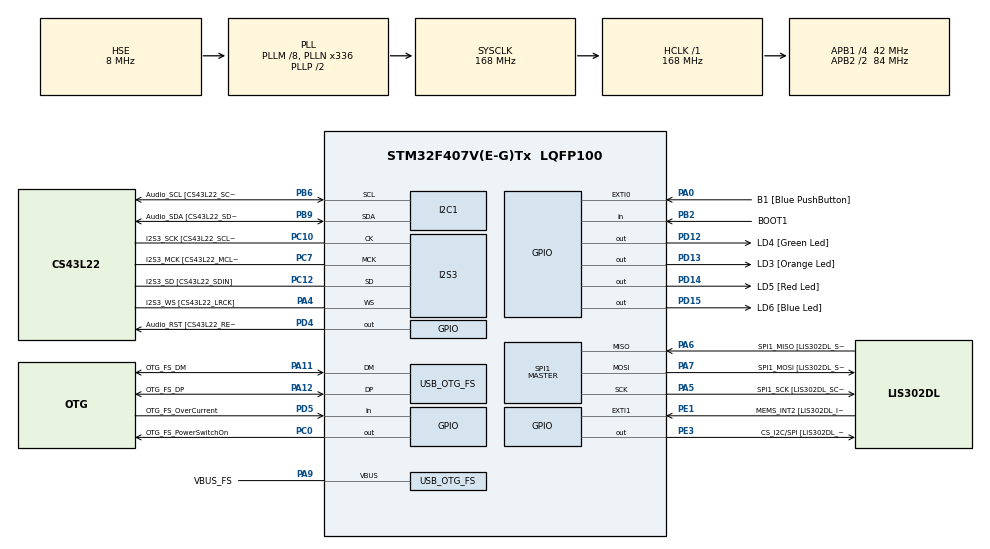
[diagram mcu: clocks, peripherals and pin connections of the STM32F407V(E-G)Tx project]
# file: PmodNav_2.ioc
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Dma.Request0=SPI1_RX
Dma.Request1=SPI1_TX
Dma.SPI1_RX.0.Direction=DMA_PERIPH_TO_MEMORY
Dma.SPI1_RX.0.FIFOMode=DMA_FIFOMODE_DISABLE
Dma.SPI1_RX.0.Instance=DMA2_Stream0
Dma.SPI1_RX.0.MemDataAlignment=DMA_MDATAALIGN_BYTE
Dma.SPI1_RX.0.MemInc=DMA_MINC_ENABLE
Dma.SPI1_RX.0.Mode=DMA_NORMAL
Dma.SPI1_RX.0.PeriphDataAlignment=DMA_PDATAALIGN_BYTE
Dma.SPI1_RX.0.PeriphInc=DMA_PINC_DISABLE
Dma.SPI1_RX.0.Priority=DMA_PRIORITY_VERY_HIGH
Dma.SPI1_TX.1.Direction=DMA_MEMORY_TO_PERIPH
Dma.SPI1_TX.1.FIFOMode=DMA_FIFOMODE_DISABLE
Dma.SPI1_TX.1.Instance=DMA2_Stream3
Dma.SPI1_TX.1.MemDataAlignment=DMA_MDATAALIGN_BYTE
Dma.SPI1_TX.1.MemInc=DMA_MINC_ENABLE
Dma.SPI1_TX.1.Mode=DMA_NORMAL
Dma.SPI1_TX.1.PeriphDataAlignment=DMA_PDATAALIGN_BYTE
Dma.SPI1_TX.1.PeriphInc=DMA_PINC_DISABLE
Dma.SPI1_TX.1.Priority=DMA_PRIORITY_VERY_HIGH
I2S3.AudioFreq-Half_Duplex_Master=I2S_AUDIOFREQ_96K
I2S3.ErrorAudioFreq=-2.34 %
I2S3.ErrorAudioFreq-Half_Duplex_Master=0.8 %
I2S3.FullDuplexMode=I2S_FULLDUPLEXMODE_DISABLE
I2S3.Instance=SPI$Index
I2S3.RealAudioFreq=93.75 KHz
I2S3.RealAudioFreq-Half_Duplex_Master=96.774 KHz
I2S3.VirtualMode=I2S_MODE_MASTER
Mcu.Family=STM32F4
Mcu.Name=STM32F407V(E-G)Tx
Mcu.Package=LQFP100
NVIC.DMA2_Stream0_IRQn=true\:0\:0\:false\:false\:true\:false\:true\:true
NVIC.DMA2_Stream3_IRQn=true\:0\:0\:false\:false\:true\:false\:true\:true
NVIC.OTG_FS_IRQn=true\:0\:0\:false\:false\:true\:true\:true\:true
NVIC.PriorityGroup=NVIC_PRIORITYGROUP_0
NVIC.SPI1_IRQn=true\:0\:0\:false\:false\:true\:true\:true\:true
PA0-WKUP.GPIO_Label=B1 [Blue PushButton]
PA0-WKUP.GPIO_ModeDefaultEXTI=GPIO_MODE_EVT_RISING
PA0-WKUP.GPIO_PuPd=GPIO_NOPULL
PA0-WKUP.Signal=GPXTI0
PA10.GPIO_Label=OTG_FS_ID
PA10.GPIO_Mode=GPIO_MODE_AF_PP
PA10.GPIO_PuPd=GPIO_NOPULL
PA10.GPIO_Speed=GPIO_SPEED_FREQ_LOW
PA10.Signal=USB_OTG_FS_ID
PA11.GPIO_Label=OTG_FS_DM
PA11.GPIO_Mode=GPIO_MODE_AF_PP
PA11.GPIO_PuPd=GPIO_NOPULL
PA11.GPIO_Speed=GPIO_SPEED_FREQ_LOW
PA11.Mode=Host_Only
PA11.Signal=USB_OTG_FS_DM
PA12.GPIO_Label=OTG_FS_DP
PA12.GPIO_Mode=GPIO_MODE_AF_PP
PA12.GPIO_PuPd=GPIO_NOPULL
PA12.GPIO_Speed=GPIO_SPEED_FREQ_LOW
PA12.Mode=Host_Only
PA12.Signal=USB_OTG_FS_DP
PA13.GPIO_Label=SWDIO
PA13.Mode=Serial_Wire
PA13.Signal=SYS_JTMS-SWDIO
PA14.GPIO_Label=SWCLK
PA14.Mode=Serial_Wire
PA14.Signal=SYS_JTCK-SWCLK
PA4.GPIO_Label=I2S3_WS [CS43L22_LRCK]
PA4.GPIO_Mode=GPIO_MODE_AF_PP
PA4.GPIO_PuPd=GPIO_NOPULL
PA4.GPIO_Speed=GPIO_SPEED_FREQ_LOW
PA4.Mode=Half_Duplex_Master
PA4.Signal=I2S3_WS
PA5.GPIO_Label=SPI1_SCK [LIS302DL_SCL/SPC]
PA5.GPIO_Mode=GPIO_MODE_AF_PP
PA5.GPIO_PuPd=GPIO_NOPULL
PA5.GPIO_Speed=GPIO_SPEED_FREQ_LOW
PA5.Mode=Full_Duplex_Master
PA5.Signal=SPI1_SCK
PA6.GPIO_Label=SPI1_MISO [LIS302DL_SDO]
PA6.GPIO_Mode=GPIO_MODE_AF_PP
PA6.GPIO_PuPd=GPIO_NOPULL
PA6.GPIO_Speed=GPIO_SPEED_FREQ_LOW
PA6.Mode=Full_Duplex_Master
PA6.Signal=SPI1_MISO
PA7.GPIO_Label=SPI1_MOSI [LIS302DL_SDA/SDI/SDO]
PA7.GPIO_Mode=GPIO_MODE_AF_PP
PA7.GPIO_PuPd=GPIO_NOPULL
PA7.GPIO_Speed=GPIO_SPEED_FREQ_LOW
PA7.Mode=Full_Duplex_Master
PA7.Signal=SPI1_MOSI
PA9.GPIO_Label=VBUS_FS
PA9.GPIO_Mode=GPIO_MODE_INPUT
PA9.GPIO_PuPd=GPIO_NOPULL
PA9.Mode=Activate_VBUS
PA9.Signal=USB_OTG_FS_VBUS
PB10.GPIO_Label=CLK_IN [MP45DT02_CLK]
PB10.GPIO_Mode=GPIO_MODE_AF_PP
PB10.GPIO_PuPd=GPIO_NOPULL
PB10.GPIO_Speed=GPIO_SPEED_FREQ_LOW
PB10.Signal=I2S2_CK
PB2.GPIO_Label=BOOT1
PB2.GPIO_Mode=GPIO_MODE_INPUT
PB2.GPIO_PuPd=GPIO_NOPULL
PB2.Signal=GPIO_Input
PB3.GPIO_Label=SWO
PB3.Signal=SYS_JTDO-SWO
PB6.GPIO_Label=Audio_SCL [CS43L22_SCL]
PB6.GPIO_Mode=GPIO_MODE_AF_OD
PB6.GPIO_Pu=GPIO_PULLUP
PB6.GPIO_PuPd=GPIO_NOPULL
PB6.GPIO_Speed=GPIO_SPEED_FREQ_LOW
PB6.Mode=I2C
PB6.Signal=I2C1_SCL
PB9.GPIO_Label=Audio_SDA [CS43L22_SDA]
PB9.GPIO_Mode=GPIO_MODE_AF_OD
PB9.GPIO_Pu=GPIO_PULLUP
PB9.GPIO_PuPd=GPIO_NOPULL
PB9.GPIO_Speed=GPIO_SPEED_FREQ_LOW
PB9.Mode=I2C
PB9.Signal=I2C1_SDA
PC0.GPIO_Label=OTG_FS_PowerSwitchOn
PC0.GPIO_PuPd=GPIO_NOPULL
PC0.GPIO_Speed=GPIO_SPEED_FREQ_LOW
PC0.PinState=GPIO_PIN_SET
PC0.Signal=GPIO_Output
PC10.GPIO_Label=I2S3_SCK [CS43L22_SCLK]
PC10.GPIO_Mode=GPIO_MODE_AF_PP
PC10.GPIO_PuPd=GPIO_NOPULL
PC10.GPIO_Speed=GPIO_SPEED_FREQ_LOW
PC10.Mode=Half_Duplex_Master
PC10.Signal=I2S3_CK
PC12.GPIO_Label=I2S3_SD [CS43L22_SDIN]
PC12.GPIO_Mode=GPIO_MODE_AF_PP
PC12.GPIO_PuPd=GPIO_NOPULL
PC12.GPIO_Speed=GPIO_SPEED_FREQ_LOW
PC12.Mode=Half_Duplex_Master
PC12.Signal=I2S3_SD
PC14-OSC32_IN.GPIO_Label=PC14-OSC32_IN
PC14-OSC32_IN.Mode=LSE-External-Oscillator
PC14-OSC32_IN.Signal=RCC_OSC32_IN
PC15-OSC32_OUT.GPIO_Label=PC15-OSC32_OUT
PC15-OSC32_OUT.Mode=LSE-External-Oscillator
PC15-OSC32_OUT.Signal=RCC_OSC32_OUT
PC3.GPIO_Label=PDM_OUT [MP45DT02_DOUT]
PC3.GPIO_Mode=GPIO_MODE_AF_PP
PC3.GPIO_PuPd=GPIO_NOPULL
PC3.GPIO_Speed=GPIO_SPEED_FREQ_LOW
PC3.Signal=I2S2_SD
PC7.GPIO_Label=I2S3_MCK [CS43L22_MCLK]
PC7.GPIO_Mode=GPIO_MODE_AF_PP
PC7.GPIO_PuPd=GPIO_NOPULL
PC7.GPIO_Speed=GPIO_SPEED_FREQ_LOW
PC7.Mode=Master_Clock_Activated
PC7.Signal=I2S3_MCK
PD12.GPIO_Label=LD4 [Green Led]
PD12.GPIO_PuPd=GPIO_NOPULL
PD12.GPIO_Speed=GPIO_SPEED_FREQ_LOW
PD12.Signal=GPIO_Output
PD13.GPIO_Label=LD3 [Orange Led]
PD13.GPIO_PuPd=GPIO_NOPULL
PD13.GPIO_Speed=GPIO_SPEED_FREQ_LOW
PD13.Signal=GPIO_Output
PD14.GPIO_Label=LD5 [Red Led]
PD14.GPIO_PuPd=GPIO_NOPULL
PD14.GPIO_Speed=GPIO_SPEED_FREQ_LOW
PD14.Signal=GPIO_Output
PD15.GPIO_Label=LD6 [Blue Led]
PD15.GPIO_PuPd=GPIO_NOPULL
PD15.GPIO_Speed=GPIO_SPEED_FREQ_LOW
PD15.Signal=GPIO_Output
PD4.GPIO_Label=Audio_RST [CS43L22_RESET]
PD4.GPIO_PuPd=GPIO_NOPULL
PD4.GPIO_Speed=GPIO_SPEED_FREQ_LOW
PD4.Signal=GPIO_Output
PD5.GPIO_Label=OTG_FS_OverCurrent
PD5.GPIO_Mode=GPIO_MODE_INPUT
PD5.GPIO_PuPd=GPIO_NOPULL
PD5.Signal=GPIO_Input
PE1.GPIO_Label=MEMS_INT2 [LIS302DL_INT2]
PE1.GPIO_ModeDefaultEXTI=GPIO_MODE_EVT_RISING
PE1.GPIO_PuPd=GPIO_NOPULL
PE1.Signal=GPXTI1
PE3.GPIO_Label=CS_I2C/SPI [LIS302DL_CS_I2C/SPI]
PE3.GPIO_PuPd=GPIO_NOPULL
PE3.GPIO_Speed=GPIO_SPEED_FREQ_LOW
PE3.Signal=GPIO_Output
PH0-OSC_IN.GPIO_Label=PH0-OSC_IN
PH0-OSC_IN.Mode=HSE-External-Oscillator
PH0-OSC_IN.Signal=RCC_OSC_IN
PH1-OSC_OUT.GPIO_Label=PH1-OSC_OUT
PH1-OSC_OUT.Mode=HSE-External-Oscillator
PH1-OSC_OUT.Signal=RCC_OSC_OUT
ProjectManager.HeapSize=0x200
ProjectManager.StackSize=0x400
ProjectManager.TargetToolchain=STM32CubeIDE
RCC.48MHZClocksFreq_Value=48000000
RCC.AHBFreq_Value=168000000
RCC.APB1CLKDivider=RCC_HCLK_DIV4
RCC.APB1Freq_Value=42000000
RCC.APB1TimFreq_Value=84000000
RCC.APB2CLKDivider=RCC_HCLK_DIV2
RCC.APB2Freq_Value=84000000
RCC.APB2TimFreq_Value=168000000
RCC.CortexFreq_Value=168000000
RCC.HCLKFreq_Value=168000000
RCC.HSE_VALUE=8000000
RCC.HSI_VALUE=16000000
RCC.PLLM=8
RCC.PLLN=336
RCC.PLLQ=7
RCC.SYSCLKFreq_VALUE=168000000
RCC.SYSCLKSource=RCC_SYSCLKSOURCE_PLLCLK
RCC.VCOOutputFreq_Value=336000000
SPI1.BaudRatePrescaler-Full_Duplex_Master=SPI_BAUDRATEPRESCALER_2
SPI1.CalculateBaudRate-Full_Duplex_Master=42.0 MBits/s
SPI1.Direction=SPI_DIRECTION_2LINES
SPI1.Mode=SPI_MODE_MASTER
SPI1.Mode-Full_Duplex_Master=SPI_MODE_MASTER
SPI1.VirtualType=VM_MASTER
USB_HOST.BSP.number=1
USB_HOST.USBH_HandleTypeDef-CDC_FS=hUsbHostFS
USB_HOST.VirtualModeFS=Cdc
USB_HOST0.BSP.STBoard=false
USB_HOST0.BSP.api=Unknown
USB_HOST0.BSP.instance=PC0
USB_HOST0.BSP.ip=GPIO
USB_HOST0.BSP.mode=Output
USB_HOST0.BSP.name=Drive_VBUS_FS
USB_HOST0.BSP.solution=PC0
USB_OTG_FS.VirtualMode=Host_Only
USB_OTG_FS.phy_itface=HCD_PHY_EMBEDDED
VP_USB_HOST_VS_USB_HOST_CDC_FS.Mode=CDC_FS
board=STM32F407G-DISC1

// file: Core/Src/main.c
/* USER CODE BEGIN Header */
/**
  ******************************************************************************
  * @file           : main.c
  * @brief          : Main program body
  ******************************************************************************
  * @attention
  *
  * Copyright (c) 2023 STMicroelectronics.
  * All rights reserved.
  *
  * This software is licensed under terms that can be found in the LICENSE file
  * in the root directory of this software component.
  * If no LICENSE file comes with this software, it is provided AS-IS.
  *
  ******************************************************************************
  */
/* USER CODE END Header */
#include "main.h"
#include "usb_host.h"

/* USER CODE BEGIN Includes */
#include <stdio.h>
#include "math.h"
#include "PmodNAV.h"
//#include "sleep.h"
//#include "xil_cache.h"
//#include "xparameters.h"
/* USER CODE END Includes */

/* USER CODE BEGIN PTD */
PmodNAV nav;

/* USER CODE END PTD */

/* USER CODE BEGIN PD */
void NavDemo_Initialize(void);
void NavDemo_Run(void);
void NavDemo_Cleanup(void);

float NavDemo_ComputePref(float hPa, float altitudeMeters);
float NavDemo_ConvPresToAltF(float Pref, float hPa);
float NavDemo_ConvPresToAltM(float Pref, float hPa);

float NavDemo_ConvTempCToTempF(float tempC);
float NavDemo_ConvFeetToMeters(float feet);
float NavDemo_ConvMetersToFeet(float meters);

float NavDemo_AngleInXY(NAV_RectCoord r);
float NavDemo_DegreesFromVertical(NAV_RectCoord r);
float NavDemo_ScalarProjection(NAV_RectCoord orient, NAV_RectCoord r);

void NavDemo_EnableCaches(void);
void NavDemo_DisableCaches(void);
/* USER CODE END PD */

I2C_HandleTypeDef hi2c1;

I2S_HandleTypeDef hi2s3;

SPI_HandleTypeDef hspi1;
DMA_HandleTypeDef hdma_spi1_rx;
DMA_HandleTypeDef hdma_spi1_tx;

void SystemClock_Config(void);
static void MX_GPIO_Init(void);
static void MX_DMA_Init(void);
static void MX_I2C1_Init(void);
static void MX_I2S3_Init(void);
static void MX_SPI1_Init(void);
void MX_USB_HOST_Process(void);

int main(void)
{

  /* MCU Configuration--------------------------------------------------------*/

  /* Reset of all peripherals, Initializes the Flash interface and the Systick. */
  HAL_Init();

  /* Configure the system clock */
  SystemClock_Config();

  /* Initialize all configured peripherals */
  MX_GPIO_Init();
  MX_DMA_Init();
  MX_I2C1_Init();
  MX_I2S3_Init();
  MX_SPI1_Init();
  MX_USB_HOST_Init();
  /* USER CODE BEGIN 2 */
  NavDemo_Initialize();
     NavDemo_Run();
     NavDemo_Cleanup();
     return 0;
  /* USER CODE END 2 */

  /* Infinite loop */
  while (1)
  {
    MX_USB_HOST_Process();

  }
}

void SystemClock_Config(void)
{
  RCC_OscInitTypeDef RCC_OscInitStruct = {0};
  RCC_ClkInitTypeDef RCC_ClkInitStruct = {0};

  /** Configure the main internal regulator output voltage
  */
  __HAL_RCC_PWR_CLK_ENABLE();
  __HAL_PWR_VOLTAGESCALING_CONFIG(PWR_REGULATOR_VOLTAGE_SCALE1);

  /** Initializes the RCC Oscillators according to the specified parameters
  * in the RCC_OscInitTypeDef structure.
  */
  RCC_OscInitStruct.OscillatorType = RCC_OSCILLATORTYPE_HSE;
  RCC_OscInitStruct.HSEState = RCC_HSE_ON;
  RCC_OscInitStruct.PLL.PLLState = RCC_PLL_ON;
  RCC_OscInitStruct.PLL.PLLSource = RCC_PLLSOURCE_HSE;
  RCC_OscInitStruct.PLL.PLLM = 8;
  RCC_OscInitStruct.PLL.PLLN = 336;
  RCC_OscInitStruct.PLL.PLLP = RCC_PLLP_DIV2;
  RCC_OscInitStruct.PLL.PLLQ = 7;
  if (HAL_RCC_OscConfig(&RCC_OscInitStruct) != HAL_OK)
  {
    Error_Handler();
  }

  /** Initializes the CPU, AHB and APB buses clocks
  */
  RCC_ClkInitStruct.ClockType = RCC_CLOCKTYPE_HCLK|RCC_CLOCKTYPE_SYSCLK
                              |RCC_CLOCKTYPE_PCLK1|RCC_CLOCKTYPE_PCLK2;
  RCC_ClkInitStruct.SYSCLKSource = RCC_SYSCLKSOURCE_PLLCLK;
  RCC_ClkInitStruct.AHBCLKDivider = RCC_SYSCLK_DIV1;
  RCC_ClkInitStruct.APB1CLKDivider = RCC_HCLK_DIV4;
  RCC_ClkInitStruct.APB2CLKDivider = RCC_HCLK_DIV2;

  if (HAL_RCC_ClockConfig(&RCC_ClkInitStruct, FLASH_LATENCY_5) != HAL_OK)
  {
    Error_Handler();
  }
}

static void MX_I2C1_Init(void)
{

  hi2c1.Instance = I2C1;
  hi2c1.Init.ClockSpeed = 100000;
  hi2c1.Init.DutyCycle = I2C_DUTYCYCLE_2;
  hi2c1.Init.OwnAddress1 = 0;
  hi2c1.Init.AddressingMode = I2C_ADDRESSINGMODE_7BIT;
  hi2c1.Init.DualAddressMode = I2C_DUALADDRESS_DISABLE;
  hi2c1.Init.OwnAddress2 = 0;
  hi2c1.Init.GeneralCallMode = I2C_GENERALCALL_DISABLE;
  hi2c1.Init.NoStretchMode = I2C_NOSTRETCH_DISABLE;
  if (HAL_I2C_Init(&hi2c1) != HAL_OK)
  {
    Error_Handler();
  }

}

static void MX_I2S3_Init(void)
{

  hi2s3.Instance = SPI3;
  hi2s3.Init.Mode = I2S_MODE_MASTER_TX;
  hi2s3.Init.Standard = I2S_STANDARD_PHILIPS;
  hi2s3.Init.DataFormat = I2S_DATAFORMAT_16B;
  hi2s3.Init.MCLKOutput = I2S_MCLKOUTPUT_ENABLE;
  hi2s3.Init.AudioFreq = I2S_AUDIOFREQ_96K;
  hi2s3.Init.CPOL = I2S_CPOL_LOW;
  hi2s3.Init.ClockSource = I2S_CLOCK_PLL;
  hi2s3.Init.FullDuplexMode = I2S_FULLDUPLEXMODE_DISABLE;
  if (HAL_I2S_Init(&hi2s3) != HAL_OK)
  {
    Error_Handler();
  }

}

static void MX_SPI1_Init(void)
{

  /* SPI1 parameter configuration*/
  hspi1.Instance = SPI1;
  hspi1.Init.Mode = SPI_MODE_MASTER;
  hspi1.Init.Direction = SPI_DIRECTION_2LINES;
  hspi1.Init.DataSize = SPI_DATASIZE_8BIT;
  hspi1.Init.CLKPolarity = SPI_POLARITY_LOW;
  hspi1.Init.CLKPhase = SPI_PHASE_1EDGE;
  hspi1.Init.NSS = SPI_NSS_SOFT;
  hspi1.Init.BaudRatePrescaler = SPI_BAUDRATEPRESCALER_2;
  hspi1.Init.FirstBit = SPI_FIRSTBIT_MSB;
  hspi1.Init.TIMode = SPI_TIMODE_DISABLE;
  hspi1.Init.CRCCalculation = SPI_CRCCALCULATION_DISABLE;
  hspi1.Init.CRCPolynomial = 10;
  if (HAL_SPI_Init(&hspi1) != HAL_OK)
  {
    Error_Handler();
  }

}

static void MX_DMA_Init(void)
{

  /* DMA controller clock enable */
  __HAL_RCC_DMA2_CLK_ENABLE();

  /* DMA interrupt init */
  /* DMA2_Stream0_IRQn interrupt configuration */
  HAL_NVIC_SetPriority(DMA2_Stream0_IRQn, 0, 0);
  HAL_NVIC_EnableIRQ(DMA2_Stream0_IRQn);
  /* DMA2_Stream3_IRQn interrupt configuration */
  HAL_NVIC_SetPriority(DMA2_Stream3_IRQn, 0, 0);
  HAL_NVIC_EnableIRQ(DMA2_Stream3_IRQn);

}

static void MX_GPIO_Init(void)
{
  GPIO_InitTypeDef GPIO_InitStruct = {0};

  /* GPIO Ports Clock Enable */
  __HAL_RCC_GPIOE_CLK_ENABLE();
  __HAL_RCC_GPIOC_CLK_ENABLE();
  __HAL_RCC_GPIOH_CLK_ENABLE();
  __HAL_RCC_GPIOA_CLK_ENABLE();
  __HAL_RCC_GPIOB_CLK_ENABLE();
  __HAL_RCC_GPIOD_CLK_ENABLE();

  /*Configure GPIO pin Output Level */
  HAL_GPIO_WritePin(CS_I2C_SPI_GPIO_Port, CS_I2C_SPI_Pin, GPIO_PIN_RESET);

  /*Configure GPIO pin Output Level */
  HAL_GPIO_WritePin(OTG_FS_PowerSwitchOn_GPIO_Port, OTG_FS_PowerSwitchOn_Pin, GPIO_PIN_SET);

  /*Configure GPIO pin Output Level */
  HAL_GPIO_WritePin(GPIOD, LD4_Pin|LD3_Pin|LD5_Pin|LD6_Pin
                          |Audio_RST_Pin, GPIO_PIN_RESET);

  /*Configure GPIO pin : CS_I2C_SPI_Pin */
  GPIO_InitStruct.Pin = CS_I2C_SPI_Pin;
  GPIO_InitStruct.Mode = GPIO_MODE_OUTPUT_PP;
  GPIO_InitStruct.Pull = GPIO_NOPULL;
  GPIO_InitStruct.Speed = GPIO_SPEED_FREQ_LOW;
  HAL_GPIO_Init(CS_I2C_SPI_GPIO_Port, &GPIO_InitStruct);

  /*Configure GPIO pin : OTG_FS_PowerSwitchOn_Pin */
  GPIO_InitStruct.Pin = OTG_FS_PowerSwitchOn_Pin;
  GPIO_InitStruct.Mode = GPIO_MODE_OUTPUT_PP;
  GPIO_InitStruct.Pull = GPIO_NOPULL;
  GPIO_InitStruct.Speed = GPIO_SPEED_FREQ_LOW;
  HAL_GPIO_Init(OTG_FS_PowerSwitchOn_GPIO_Port, &GPIO_InitStruct);

  /*Configure GPIO pin : PDM_OUT_Pin */
  GPIO_InitStruct.Pin = PDM_OUT_Pin;
  GPIO_InitStruct.Mode = GPIO_MODE_AF_PP;
  GPIO_InitStruct.Pull = GPIO_NOPULL;
  GPIO_InitStruct.Speed = GPIO_SPEED_FREQ_LOW;
  GPIO_InitStruct.Alternate = GPIO_AF5_SPI2;
  HAL_GPIO_Init(PDM_OUT_GPIO_Port, &GPIO_InitStruct);

  /*Configure GPIO pin : B1_Pin */
  GPIO_InitStruct.Pin = B1_Pin;
  GPIO_InitStruct.Mode = GPIO_MODE_EVT_RISING;
  GPIO_InitStruct.Pull = GPIO_NOPULL;
  HAL_GPIO_Init(B1_GPIO_Port, &GPIO_InitStruct);

  /*Configure GPIO pin : BOOT1_Pin */
  GPIO_InitStruct.Pin = BOOT1_Pin;
  GPIO_InitStruct.Mode = GPIO_MODE_INPUT;
  GPIO_InitStruct.Pull = GPIO_NOPULL;
  HAL_GPIO_Init(BOOT1_GPIO_Port, &GPIO_InitStruct);

  /*Configure GPIO pin : CLK_IN_Pin */
  GPIO_InitStruct.Pin = CLK_IN_Pin;
  GPIO_InitStruct.Mode = GPIO_MODE_AF_PP;
  GPIO_InitStruct.Pull = GPIO_NOPULL;
  GPIO_InitStruct.Speed = GPIO_SPEED_FREQ_LOW;
  GPIO_InitStruct.Alternate = GPIO_AF5_SPI2;
  HAL_GPIO_Init(CLK_IN_GPIO_Port, &GPIO_InitStruct);

  /*Configure GPIO pins : LD4_Pin LD3_Pin LD5_Pin LD6_Pin
                           Audio_RST_Pin */
  GPIO_InitStruct.Pin = LD4_Pin|LD3_Pin|LD5_Pin|LD6_Pin
                          |Audio_RST_Pin;
  GPIO_InitStruct.Mode = GPIO_MODE_OUTPUT_PP;
  GPIO_InitStruct.Pull = GPIO_NOPULL;
  GPIO_InitStruct.Speed = GPIO_SPEED_FREQ_LOW;
  HAL_GPIO_Init(GPIOD, &GPIO_InitStruct);

  /*Configure GPIO pin : OTG_FS_OverCurrent_Pin */
  GPIO_InitStruct.Pin = OTG_FS_OverCurrent_Pin;
  GPIO_InitStruct.Mode = GPIO_MODE_INPUT;
  GPIO_InitStruct.Pull = GPIO_NOPULL;
  HAL_GPIO_Init(OTG_FS_OverCurrent_GPIO_Port, &GPIO_InitStruct);

  /*Configure GPIO pin : MEMS_INT2_Pin */
  GPIO_InitStruct.Pin = MEMS_INT2_Pin;
  GPIO_InitStruct.Mode = GPIO_MODE_EVT_RISING;
  GPIO_InitStruct.Pull = GPIO_NOPULL;
  HAL_GPIO_Init(MEMS_INT2_GPIO_Port, &GPIO_InitStruct);

}

/* USER CODE BEGIN 4 */
void NavDemo_Initialize(void) {
    NavDemo_EnableCaches();
    xil_printf("Pmod Nav Demo Initializing...\n\r");
    NAV_begin ( // intialize the PmodNAV driver device
        &nav,
        XPAR_PMODNAV_0_AXI_LITE_GPIO_BASEADDR,
        XPAR_PMODNAV_0_AXI_LITE_SPI_BASEADDR
    );
    xil_printf("Pmod Nav Demo Initialized\n\r");
    NAV_Init(&nav); // initialize the connection with each spi slave
}
oid NavDemo_Run(void) {
   float Pref,
         tempF,
         dps,
         magXYd,
         alt;
    char *compass[8] = {"North", "North-East", "East", "South-East", "South",
          "South-West", "West", "North-West"};
    char *str;
    // Set the known altitude as reference for future measurements of altitude
    // Uncomment the below line to improve accuracy of the altimeter device by
    // specifying the known altitude for your current location

   printf("Pmod Nav Demo Started\n\r");
   NAV_ReadPressurehPa(&nav);
   alt = NavDemo_ConvFeetToMeters(175.0); // altitude for Seattle, WA in meters
   Pref = NavDemo_ComputePref(nav.hPa, alt);
   usleep(100000);
   while(1){
      NAV_GetDeviceID(&nav);

      printf("Device IDs\n\r");
      printf(
         "A/G ID:%d  MAG ID:%d  ALT ID:%d\n\r\n\r",
         nav.idData.ag,
         nav.idData.mag,
         nav.idData.alt
      );

      NAV_GetData(&nav);

      /*printf(
         "Accelerometer G values    X:%.2f G, Y:%.2f G, Z:%.2f G\n\r",
         nav.acclData.X,
         nav.acclData.Y,
         nav.acclData.Z
      );

      printf(
         "    %.2f degrees from vertical\n\r",
         NavDemo_DegreesFromVertical(nav.acclData)
      );
      // Format and serial print the data read from accelerometer instrument,
      // stored in acclData variables and expressed in G

      printf(
         "Gyro dps values   X:%.2f dps, Y:%.2f dps, Z:%.2f dps\n\r",
         nav.gyroData.X,
         nav.gyroData.Y,
         nav.acclData.Z
      );
      dps = NavDemo_ScalarProjection(nav.acclData, nav.gyroData);
      if (dps < -4) // Remove some noise around 0
         str = "Clockwise";
      else if (dps > 4)
        str = "Counter-Clockwise";
      else
         str = "Marginal";
      printf("    rotating about vertical at %6.2f dps (%s)\n\r", dps, str);
      // Format and serial print the data read from Gyro instrument, stored in
      // gyroData variables and expressed in degrees per second

      printf(
         "Magnetometer Gauss values   X:%.2f Gauss, Y:%.2f Gauss, Z:%.2f Gauss \
                \n\r",
         nav.magData.X,
         nav.magData.Y,
         nav.magData.Z
      );
      // Format and serial print the data read from magnetometer instrument,
      // stored in magData variables and expressed in Gauss

      magXYd = NavDemo_AngleInXY(nav.magData);
      str = compass[(int)((magXYd + 22.5) / 45.0) % 8];
      // Get appropriate compass string - North is centered on 0 degrees
      printf("    Heading in Degrees: %.2f   Y Direction: %s\n\r", magXYd, str);

      printf("Pressure: %.1f hPa\n\r", nav.hPa);
      alt = NavDemo_ConvPresToAltF(Pref, nav.hPa);
      printf("Altitude: %.1f feet\n\r", alt);

      tempF = NavDemo_ConvTempCToTempF(nav.tempC);
      printf("Temperature: %.2f degrees Celsius\n\r", nav.tempC);
      printf("             %.2f degrees Fahrenheit\n\r", tempF);
      xil_printf("\n\r\n\r");*/

      usleep(500000);
    }
}
void NavDemo_Cleanup(void) {
   NAV_end(&nav);
   NavDemo_DisableCaches();
}
float NavDemo_ComputePref(float hPa, float altitudeMeters) {
   float altitudeFeet = NavDemo_ConvMetersToFeet(altitudeMeters);
   float temp = 1 - (altitudeFeet / 145366.45);
   temp = hPa / (powf(temp, 1.0 / 0.190284));
   return temp;
}
float NavDemo_ConvPresToAltM(float Pref, float hPa) {
   return NavDemo_ConvPresToAltF(Pref, hPa) * 0.3048;
}
float NavDemo_ConvPresToAltF(float Pref, float hPa) {
   return ((1 - pow(hPa / Pref, 0.190284)) * 145366.45);
}

float NavDemo_ConvTempCToTempF(float tempC) {
   return 32 + (tempC * 1.8);
}
float NavDemo_ConvFeetToMeters(float feet) {
   return feet * 0.3048;
}
float NavDemo_ConvMetersToFeet(float meters) {
   return meters * 3.28084;
}
float NavDemo_AngleInXY(NAV_RectCoord r) {
   float d;
   if (r.X == 0)
      d = (r.Y < 0) ? 90 : 0;
   else
      d = atan2f(r.Y, r.X) * 180 / M_PI;
   if (d > 360)
      d -= 360;
   else if (d < 0)
      d += 360;
   return d;
}
float NavDemo_DegreesFromVertical(NAV_RectCoord r) {
   // Determine the magnitude of the vector r.
   float rM = sqrtf(powf(r.X, 2) + powf(r.Y, 2) + powf(r.Z, 2));
   if (rM == 0)
      return 0.0;
   return acosf(r.Z / rM) * (180.0 / M_PI);
}
float NavDemo_ScalarProjection(NAV_RectCoord orient, NAV_RectCoord r) {
   float oM = sqrtf(powf(orient.X, 2) + powf(orient.Y, 2) + powf(orient.Z, 2));
   return (r.X * orient.X + r.Y * orient.Y + r.Z * orient.Z) / oM;
}
void NavDemo_EnableCaches(void) {
#ifdef __MICROBLAZE__
#ifdef XPAR_MICROBLAZE_USE_ICACHE
   Xil_ICacheEnable();
#endif
#ifdef XPAR_MICROBLAZE_USE_DCACHE
   Xil_DCacheEnable();
#endif
#endif
}
void NavDemo_DisableCaches(void) {
#ifdef __MICROBLAZE__
#ifdef XPAR_MICROBLAZE_USE_ICACHE
   Xil_ICacheDisable();
#endif
#ifdef XPAR_MICROBLAZE_USE_DCACHE
   Xil_DCacheDisable();
#endif
#endif
}
/* USER CODE END 4 */

void Error_Handler(void)
{
  __disable_irq();
  while (1)
  {
  }
}
